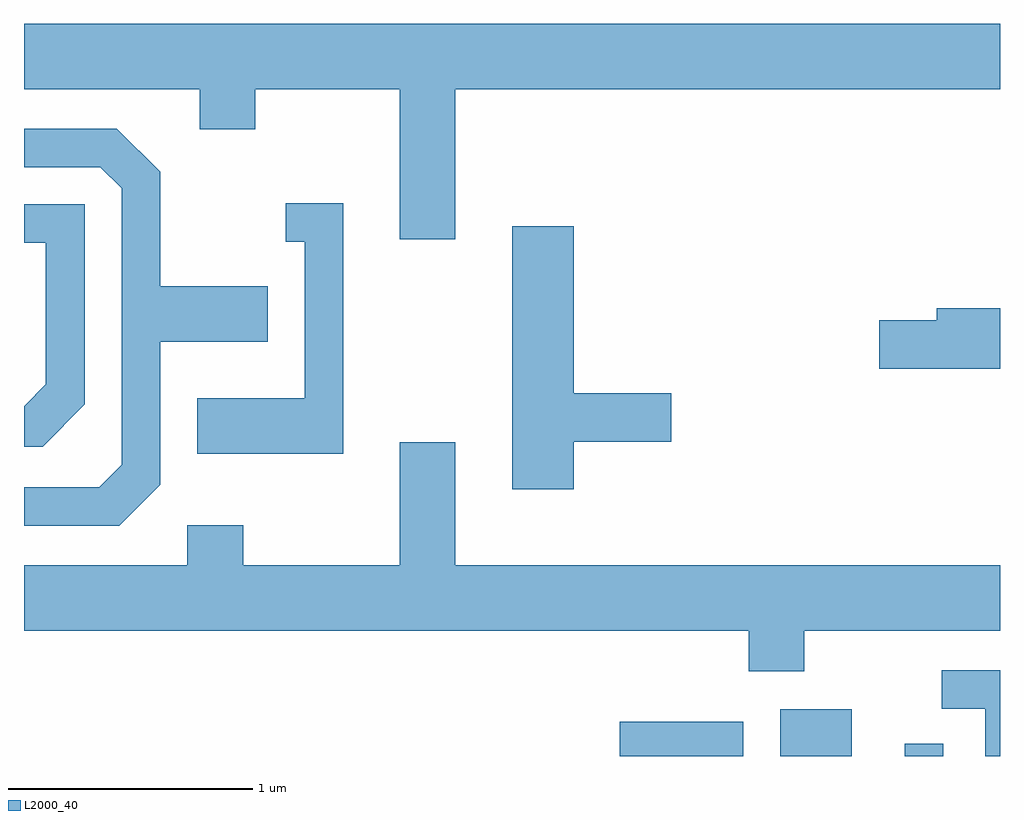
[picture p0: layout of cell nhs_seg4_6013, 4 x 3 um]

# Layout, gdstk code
import gdstk
lib = gdstk.Library(unit=1e-6, precision=1e-09)
def R(c, l, rs):  # rectangles x0, y0, x1, y1
    for r in rs: c.add(gdstk.rectangle(r[:2], r[2:], *l))
def P(c, l, *ps):  # polygons
    for p in ps: c.add(gdstk.Polygon(p, *l))
L2000_40 = (2000, 40)

nhs_seg4_6013 = lib.new_cell('nhs_seg4_6013')
R(nhs_seg4_6013, L2000_40, [(364.053,1311.982,364.559,1312.124), (364.711,1311.982,365.004,1312.174), (365.221,1311.982,365.379,1312.033)])
P(nhs_seg4_6013, L2000_40, [(363.379,1314.716),(365.611,1314.716),(365.611,1314.984),(361.611,1314.984),(361.611,1314.716),(362.331,1314.716),(362.331,1314.551),(362.559,1314.551),(362.559,1314.716),(363.151,1314.716),(363.151,1314.101),(363.379,1314.101)],
  [(362.169,1313.094),(362.169,1313.681),(362.609,1313.681),(362.609,1313.909),(362.169,1313.909),(362.169,1314.377),(361.992,1314.554),(361.611,1314.554),(361.611,1314.396),(361.924,1314.396),(362.011,1314.309),(362.011,1313.177),(361.919,1313.084),(361.611,1313.084),(361.611,1312.926),(362.002,1312.926)],
  [(362.919,1314.249),(362.683,1314.249),(362.683,1314.091),(362.761,1314.091),(362.761,1313.449),(362.321,1313.449),(362.321,1313.221),(362.919,1313.221)],
  [(361.859,1313.424),(361.859,1314.244),(361.611,1314.244),(361.611,1314.086),(361.701,1314.086),(361.701,1313.507),(361.611,1313.416),(361.611,1313.251),(361.687,1313.251)],
  [(363.864,1313.271),(364.264,1313.271),(364.264,1313.469),(363.864,1313.469),(363.864,1314.154),(363.611,1314.154),(363.611,1313.076),(363.864,1313.076)],
  [(365.611,1313.819),(365.351,1313.819),(365.351,1313.769),(365.116,1313.769),(365.116,1313.571),(365.611,1313.571)],
  [(364.809,1312.496),(365.611,1312.496),(365.611,1312.764),(363.379,1312.764),(363.379,1313.269),(363.151,1313.269),(363.151,1312.764),(362.509,1312.764),(362.509,1312.929),(362.281,1312.929),(362.281,1312.764),(361.611,1312.764),(361.611,1312.496),(364.581,1312.496),(364.581,1312.331),(364.809,1312.331)],
  [(365.611,1312.334),(365.373,1312.334),(365.373,1312.176),(365.551,1312.176),(365.551,1311.982),(365.611,1311.982)])

lib.write_gds('nhs_seg4_6013.gds')
